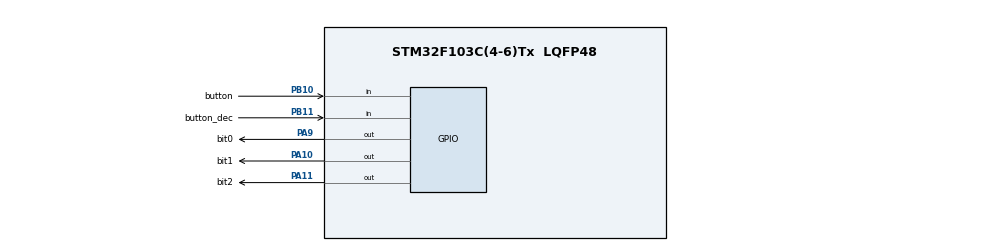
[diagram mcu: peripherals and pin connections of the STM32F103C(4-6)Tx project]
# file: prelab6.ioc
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Mcu.Family=STM32F1
Mcu.Name=STM32F103C(4-6)Tx
Mcu.Package=LQFP48
NVIC.PriorityGroup=NVIC_PRIORITYGROUP_4
PA10.GPIO_Label=bit1
PA10.Signal=GPIO_Output
PA11.GPIO_Label=bit2
PA11.Signal=GPIO_Output
PA9.GPIO_Label=bit0
PA9.Signal=GPIO_Output
PB10.GPIO_Label=button
PB10.GPIO_PuPd=GPIO_PULLDOWN
PB10.Signal=GPIO_Input
PB11.GPIO_Label=button_dec
PB11.GPIO_PuPd=GPIO_PULLDOWN
PB11.Signal=GPIO_Input
ProjectManager.HeapSize=0x200
ProjectManager.StackSize=0x400
ProjectManager.TargetToolchain=MDK-ARM V5.32
RCC.APB1Freq_Value=8000000
RCC.APB2Freq_Value=8000000
VP_SYS_VS_ND.Mode=No_Debug
board=custom

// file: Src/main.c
/* USER CODE BEGIN Header */
/**
  ******************************************************************************
  * @file           : main.c
  * @brief          : Main program body
  ******************************************************************************
  * @attention
  *
  * Copyright (c) 2022 STMicroelectronics.
  * All rights reserved.
  *
  * This software is licensed under terms that can be found in the LICENSE file
  * in the root directory of this software component.
  * If no LICENSE file comes with this software, it is provided AS-IS.
  *
  ******************************************************************************
  */
/* USER CODE END Header */
#include "main.h"

void SystemClock_Config(void);
static void MX_GPIO_Init(void);

int main(void)
{

  /* MCU Configuration--------------------------------------------------------*/

  /* Reset of all peripherals, Initializes the Flash interface and the Systick. */
  HAL_Init();

  /* Configure the system clock */
  SystemClock_Config();

  /* Initialize all configured peripherals */
  MX_GPIO_Init();

  /* Infinite loop */
  /* USER CODE BEGIN WHILE */
 	GPIO_PinState button_value_current = GPIO_PIN_RESET;
	GPIO_PinState button_value_previous = GPIO_PIN_RESET;

	GPIO_PinState buttondec_value_current = GPIO_PIN_RESET;
	GPIO_PinState buttondec_value_previous = GPIO_PIN_RESET;
	uint8_t current_number = 0;

  while (1)
  {
		// Check if the button is pressed
		button_value_previous = button_value_current;
		button_value_current = HAL_GPIO_ReadPin(button_GPIO_Port, button_Pin);

		buttondec_value_previous = buttondec_value_current;
		buttondec_value_current = HAL_GPIO_ReadPin(button_dec_GPIO_Port, button_dec_Pin);

		if(buttondec_value_current != buttondec_value_previous && buttondec_value_current != GPIO_PIN_RESET){
		  current_number--;
			buttondec_value_previous = buttondec_value_current;

		}
		else if (button_value_current != button_value_previous && button_value_current != GPIO_PIN_RESET) {
			current_number++;
			button_value_previous = button_value_current;
		}
    else {
		// Button is pressed
			continue;
		}

		// if the button is pressed, increment the current number
		////get the 0th bit and 1st bit of current number:
		GPIO_PinState bit0_value, bit1_value, bit2_value;
		bit0_value = (current_number & (uint8_t)1) ? GPIO_PIN_SET:GPIO_PIN_RESET; //0b00001
		bit1_value = (current_number & (uint8_t)2) ? GPIO_PIN_SET:GPIO_PIN_RESET; //0b00010
		bit2_value = (current_number & (uint8_t)4) ? GPIO_PIN_SET:GPIO_PIN_RESET; //0b00100

		// Turn on/off LED according to the current number
		// HAL_GPIO_WritePin(bit0_GPIO_Port, bit0_Pin, bit0_value);
		// HAL_GPIO_WritePin(bit1_GPIO_Port, bit1_Pin, bit1_value);
		// HAL_GPIO_WritePin(bit1_GPIO_Port, bit2_Pin, bit2_value);

		// bit0_GPIO_Port->ODR = (bit0_value ? bit0_Pin : 0) | (bit1_value ? bit1_Pin : 0);
		//(uint32_t)GPIO_Pin << 16u
		bit0_GPIO_Port->BSRR = (bit0_value ? bit0_Pin : bit0_Pin << 16u) | (bit1_value ? bit1_Pin : bit1_Pin << 16u) | (bit2_value ? bit2_Pin : bit2_Pin << 16u);
    /* USER CODE END WHILE */

  }
}

void SystemClock_Config(void)
{
  RCC_OscInitTypeDef RCC_OscInitStruct = {0};
  RCC_ClkInitTypeDef RCC_ClkInitStruct = {0};

  /** Initializes the RCC Oscillators according to the specified parameters
  * in the RCC_OscInitTypeDef structure.
  */
  RCC_OscInitStruct.OscillatorType = RCC_OSCILLATORTYPE_HSI;
  RCC_OscInitStruct.HSIState = RCC_HSI_ON;
  RCC_OscInitStruct.HSICalibrationValue = RCC_HSICALIBRATION_DEFAULT;
  RCC_OscInitStruct.PLL.PLLState = RCC_PLL_NONE;
  if (HAL_RCC_OscConfig(&RCC_OscInitStruct) != HAL_OK)
  {
    Error_Handler();
  }
  /** Initializes the CPU, AHB and APB buses clocks
  */
  RCC_ClkInitStruct.ClockType = RCC_CLOCKTYPE_HCLK|RCC_CLOCKTYPE_SYSCLK
                              |RCC_CLOCKTYPE_PCLK1|RCC_CLOCKTYPE_PCLK2;
  RCC_ClkInitStruct.SYSCLKSource = RCC_SYSCLKSOURCE_HSI;
  RCC_ClkInitStruct.AHBCLKDivider = RCC_SYSCLK_DIV1;
  RCC_ClkInitStruct.APB1CLKDivider = RCC_HCLK_DIV1;
  RCC_ClkInitStruct.APB2CLKDivider = RCC_HCLK_DIV1;

  if (HAL_RCC_ClockConfig(&RCC_ClkInitStruct, FLASH_LATENCY_0) != HAL_OK)
  {
    Error_Handler();
  }
}

static void MX_GPIO_Init(void)
{
  GPIO_InitTypeDef GPIO_InitStruct = {0};

  /* GPIO Ports Clock Enable */
  __HAL_RCC_GPIOB_CLK_ENABLE();
  __HAL_RCC_GPIOA_CLK_ENABLE();

  /*Configure GPIO pin Output Level */
  HAL_GPIO_WritePin(GPIOA, bit0_Pin|bit1_Pin|bit2_Pin, GPIO_PIN_RESET);

  /*Configure GPIO pins : button_Pin button_dec_Pin */
  GPIO_InitStruct.Pin = button_Pin|button_dec_Pin;
  GPIO_InitStruct.Mode = GPIO_MODE_INPUT;
  GPIO_InitStruct.Pull = GPIO_PULLDOWN;
  HAL_GPIO_Init(GPIOB, &GPIO_InitStruct);

  /*Configure GPIO pins : bit0_Pin bit1_Pin bit2_Pin */
  GPIO_InitStruct.Pin = bit0_Pin|bit1_Pin|bit2_Pin;
  GPIO_InitStruct.Mode = GPIO_MODE_OUTPUT_PP;
  GPIO_InitStruct.Pull = GPIO_NOPULL;
  GPIO_InitStruct.Speed = GPIO_SPEED_FREQ_LOW;
  HAL_GPIO_Init(GPIOA, &GPIO_InitStruct);

}

/* USER CODE BEGIN 4 */
void Update_Output_LEDs(uint8_t current_number){
	return;

}

/* USER CODE END 4 */

void Error_Handler(void)
{
  __disable_irq();
  while (1)
  {
  }
}
